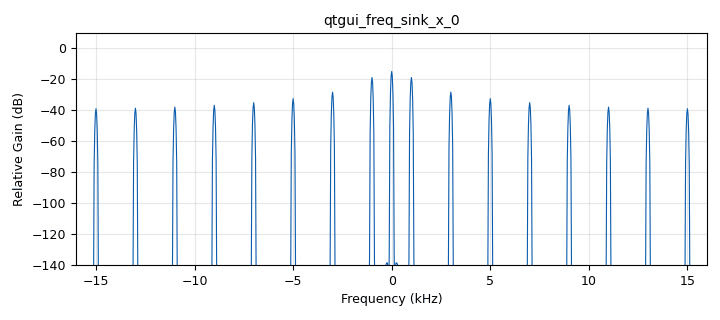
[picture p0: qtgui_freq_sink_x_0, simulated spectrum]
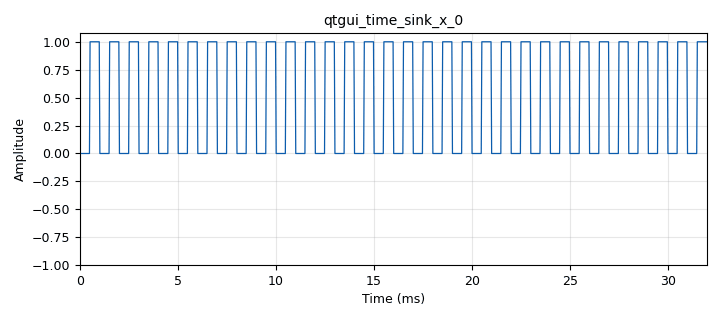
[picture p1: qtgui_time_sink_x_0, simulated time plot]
options:
  parameters:
    generate_options: qt_gui
    id: PruebaPot
    output_language: python
    title: Not titled yet
  states: {}

blocks:
- name: samp_rate
  id: variable
  parameters:
    value: '32000'
  states: {}
- name: vamp
  id: variable_qtgui_range
  parameters:
    label: Vamp
    orient: Qt.Horizontal
    start: '0'
    step: '1'
    stop: '100'
    value: '1'
  states: {}
- name: CalculoPotenciaComunicaciones_0
  id: CalculoPotenciaComunicaciones
  parameters:
    l_vect: '1024'
  states: {}
- name: analog_sig_source_x_0
  id: analog_sig_source_x
  parameters:
    amp: vamp
    freq: '1000'
    offset: '0'
    phase: '0'
    samp_rate: samp_rate
    type: float
    waveform: analog.GR_SQR_WAVE
  states: {}
- name: qtgui_freq_sink_x_0
  id: qtgui_freq_sink_x
  parameters:
    bw: samp_rate
    fc: '0'
    fftsize: '1024'
    type: float
    wintype: firdes.WIN_BLACKMAN_hARRIS
  states: {}
- name: qtgui_time_sink_x_0
  id: qtgui_time_sink_x
  parameters:
    size: '1024'
    srate: samp_rate
    type: float
  states: {}

connections:
- [analog_sig_source_x_0, '0', CalculoPotenciaComunicaciones_0, '0']
- [analog_sig_source_x_0, '0', qtgui_freq_sink_x_0, '0']
- [analog_sig_source_x_0, '0', qtgui_time_sink_x_0, '0']

metadata:
  file_format: 1
